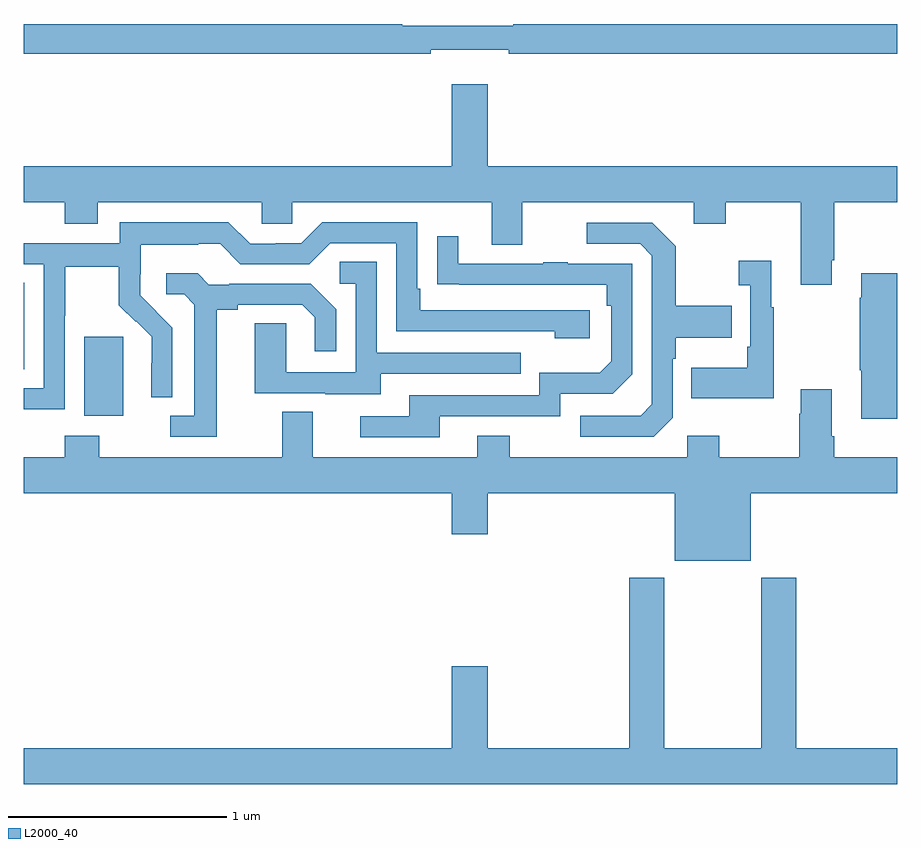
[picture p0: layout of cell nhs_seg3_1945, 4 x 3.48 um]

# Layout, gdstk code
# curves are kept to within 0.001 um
import gdstk
lib = gdstk.Library(unit=1e-6, precision=1e-09)
def R(c, l, rs):  # rectangles x0, y0, x1, y1
    for r in rs: c.add(gdstk.rectangle(r[:2], r[2:], *l))
def P(c, l, *ps):  # polygons
    for p in ps: c.add(gdstk.Polygon(p, *l))
L2000_40 = (2000, 40)

nhs_seg3_1945 = lib.new_cell('nhs_seg3_1945')
R(nhs_seg3_1945, L2000_40, [(211.277,710.594,211.456,710.955), (211,710.806,211.003,711.203)])
P(nhs_seg3_1945, L2000_40, [(212.864,712.271),(213.22,712.271),(213.22,712.252),(215,712.252),(215,712.388),(213.242,712.388),(213.242,712.381),(212.734,712.381),(212.734,712.388),(211,712.388),(211,712.252),(212.864,712.252)],
  [(214.699,711.307),(214.712,711.307),(214.712,711.572),(215,711.572),(215,711.736),(213.124,711.736),(213.124,712.111),(212.96,712.111),(212.96,711.736),(211,711.736),(211,711.572),(211.187,711.572),(211.187,711.473),(211.339,711.473),(211.339,711.572),(212.091,711.572),(212.091,711.474),(212.229,711.474),(212.229,711.572),(213.143,711.572),(213.143,711.378),(213.283,711.378),(213.283,711.572),(214.067,711.572),(214.067,711.473),(214.215,711.473),(214.215,711.572),(214.559,711.572),(214.559,711.195),(214.699,711.195)],
  [(211.188,711.052),(211.191,711.052),(211.191,711.276),(211.435,711.276),(211.435,711.101),(211.512,711.024),(211.515,711.027),(211.586,710.957),(211.586,710.834),(211.584,710.834),(211.584,710.68),(211.68,710.68),(211.68,710.998),(211.534,711.146),(211.534,711.243),(211.536,711.243),(211.536,711.377),(211.799,711.377),(211.799,711.381),(211.899,711.381),(211.992,711.288),(212.307,711.288),(212.403,711.384),(212.706,711.384),(212.706,710.982),(213.431,710.982),(213.431,710.948),(213.592,710.948),(213.592,711.078),(212.815,711.078),(212.815,711.175),(212.802,711.175),(212.802,711.48),(212.367,711.48),(212.271,711.384),(212.153,711.384),(212.153,711.381),(212.037,711.381),(211.937,711.481),(211.44,711.481),(211.44,711.384),(211,711.384),(211,711.288),(211.092,711.288),(211.092,710.721),(211,710.721),(211,710.623),(211.188,710.623)],
  [(213.972,710.586),(213.972,710.855),(213.985,710.855),(213.985,710.951),(214.241,710.951),(214.241,711.099),(213.985,711.099),(213.985,711.371),(213.879,711.477),(213.579,711.477),(213.579,711.381),(213.822,711.381),(213.876,711.327),(213.876,710.646),(213.825,710.595),(213.549,710.595),(213.549,710.499),(213.885,710.499)],
  [(212.905,710.592),(213.456,710.592),(213.456,710.694),(213.696,710.694),(213.786,710.784),(213.786,711.291),(213.491,711.291),(213.491,711.296),(213.379,711.296),(213.379,711.291),(212.989,711.291),(212.989,711.415),(212.893,711.415),(212.893,711.196),(213.67,711.195),(213.67,711.098),(213.69,711.098),(213.69,710.844),(213.637,710.791),(213.36,710.791),(213.36,710.688),(212.765,710.688),(212.765,710.592),(212.541,710.592),(212.541,710.496),(212.905,710.496)],
  [(214.435,711.091),(214.423,711.091),(214.423,711.304),(214.275,711.304),(214.275,711.191),(214.326,711.191),(214.326,710.911),(214.314,710.911),(214.314,710.815),(214.057,710.815),(214.057,710.675),(214.435,710.675)],
  [(212.635,710.787),(213.275,710.787),(213.275,710.883),(212.616,710.883),(212.616,711.299),(212.448,711.299),(212.448,711.198),(212.52,711.198),(212.52,710.793),(212.202,710.793),(212.202,711.017),(212.057,711.017),(212.057,710.697),(212.381,710.697),(212.381,710.693),(212.635,710.693)],
  [(211.885,711.08),(211.981,711.08),(211.981,711.102),(212.276,711.102),(212.333,711.045),(212.333,710.889),(212.43,710.889),(212.43,711.082),(212.314,711.198),(211.942,711.198),(211.942,711.195),(211.848,711.195),(211.796,711.247),(211.653,711.247),(211.653,711.15),(211.734,711.15),(211.781,711.103),(211.781,710.595),(211.671,710.595),(211.671,710.499),(211.885,710.499)],
  [(215,711.247),(214.835,711.247),(214.835,711.134),(214.828,711.134),(214.828,710.803),(214.835,710.803),(214.835,710.58),(215,710.58)],
  [(214.33,710.24),(215,710.24),(215,710.404),(214.712,710.404),(214.712,710.5),(214.699,710.5),(214.699,710.716),(214.559,710.716),(214.559,710.603),(214.552,710.603),(214.552,710.404),(214.185,710.404),(214.185,710.503),(214.038,710.503),(214.038,710.404),(213.225,710.404),(213.225,710.503),(213.077,710.503),(213.077,710.404),(212.323,710.404),(212.323,710.612),(212.183,710.612),(212.183,710.404),(211.347,710.404),(211.347,710.503),(211.187,710.503),(211.187,710.404),(211,710.404),(211,710.24),(212.96,710.24),(212.96,710.052),(213.124,710.052),(213.124,710.24),(213.98,710.24),(213.98,709.931),(214.33,709.931)],
  [(215,709.072),(214.538,709.072),(214.538,709.852),(214.378,709.852),(214.378,709.072),(213.933,709.072),(213.933,709.852),(213.773,709.852),(213.773,709.072),(213.124,709.072),(213.124,709.447),(212.96,709.447),(212.96,709.072),(211,709.072),(211,708.908),(215,708.908)])

lib.write_gds('nhs_seg3_1945.gds')
